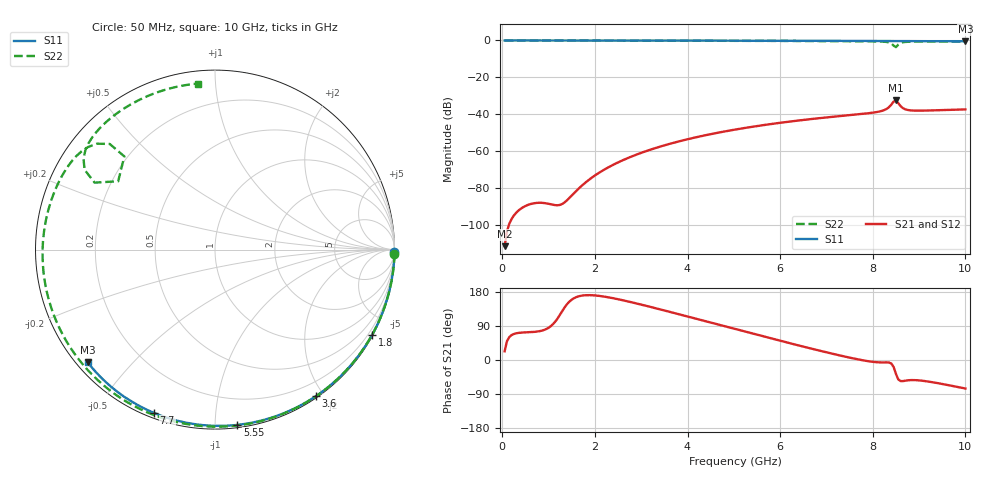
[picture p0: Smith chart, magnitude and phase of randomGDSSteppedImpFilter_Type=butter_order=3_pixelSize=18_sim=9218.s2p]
! freq	dB(S11)	phase(S11)	dB(S12)	phase(S12)
!  dB(S21)	phase(S21)	dB(S22)	phase(S22)
!S-par simulation data
#  GHz  S  DB  R 50
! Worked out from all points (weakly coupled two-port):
!   200 points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, 50 MHz to 10 GHz, reference 50 ohm
!   highest |S21| = -32.49 dB at 8.5 GHz (marker M1); lowest = -111.3 dB at 50 MHz (marker M2)
!   lowest |S11| = -0.5 dB at 10 GHz (marker M3), VSWR 37.08, Z = 1.54 - j18.9 ohm
!   |S11| at or under -10 dB: nowhere
!   |S22| runs from -3.6 to 0.0 dB; largest |S21 - S12| = 0
!   S11 on the Smith chart (normalised r, x): 50 MHz: open; 1.8 GHz: 0.03, -3.95; 3.6 GHz: 0.02, -1.90; 5.55 GHz: 0.02, -1.14; 7.7 GHz: 0.02, -0.69; 10 GHz: 0.03, -0.38
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0.05  -0.00 -0.8  -111.32 22.9  -111.32 22.9  -0.00 -1.4
0.8  -0.01 -12.8  -87.84 76.0  -87.84 76.0  -0.03 -22.8
1.65  -0.03 -26.1  -80.13 168.1  -80.13 168.1  -0.06 -46.3
1.75  -0.04 -27.6  -77.86 170.5  -77.86 170.5  -0.06 -49.0
1.8  -0.04 -28.4  -76.81 171.0  -76.81 171.0  -0.06 -50.3
2.45  -0.05 -38.4  -66.59 161.7  -66.59 161.7  -0.08 -67.6
3.4  -0.07 -52.5  -57.51 133.9  -57.51 133.9  -0.12 -91.8
3.6  -0.07 -55.5  -56.05 127.5  -56.05 127.5  -0.13 -96.8
4.3  -0.09 -65.5  -51.75 105.0  -51.75 105.0  -0.16 -113.8
5.05  -0.12 -76.0  -48.13 80.9  -48.13 80.9  -0.20 -131.6
5.55  -0.14 -82.8  -46.13 64.9  -46.13 64.9  -0.23 -143.5
6.7  -0.19 -97.8  -42.45 29.2  -42.45 29.2  -0.32 -171.3
7.7  -0.25 -110.5  -39.93 1.2  -39.93 1.2  -0.43 162.3
8.15  -0.29 -116.0  -38.42 -6.4  -38.42 -6.4  -0.57 147.9
8.35  -0.31 -118.5  -36.10 -6.7  -36.10 -6.7  -1.07 138.1
8.45  -0.31 -119.7  -33.09 -18.3  -33.09 -18.3  -2.80 134.2
8.5  -0.32 -120.3  -32.49 -36.5  -32.49 -36.5  -3.61 144.8
8.55  -0.32 -120.9  -33.87 -51.1  -33.87 -51.1  -2.30 150.9
8.6  -0.32 -121.5  -35.51 -55.7  -35.51 -55.7  -1.39 148.5
8.7  -0.33 -122.8  -37.24 -54.7  -37.24 -54.7  -0.81 142.4
9.25  -0.39 -129.4  -37.87 -57.9  -37.87 -57.9  -0.58 121.3
10  -0.47 -138.5  -37.31 -75.2  -37.31 -75.2  -0.63 95.8
